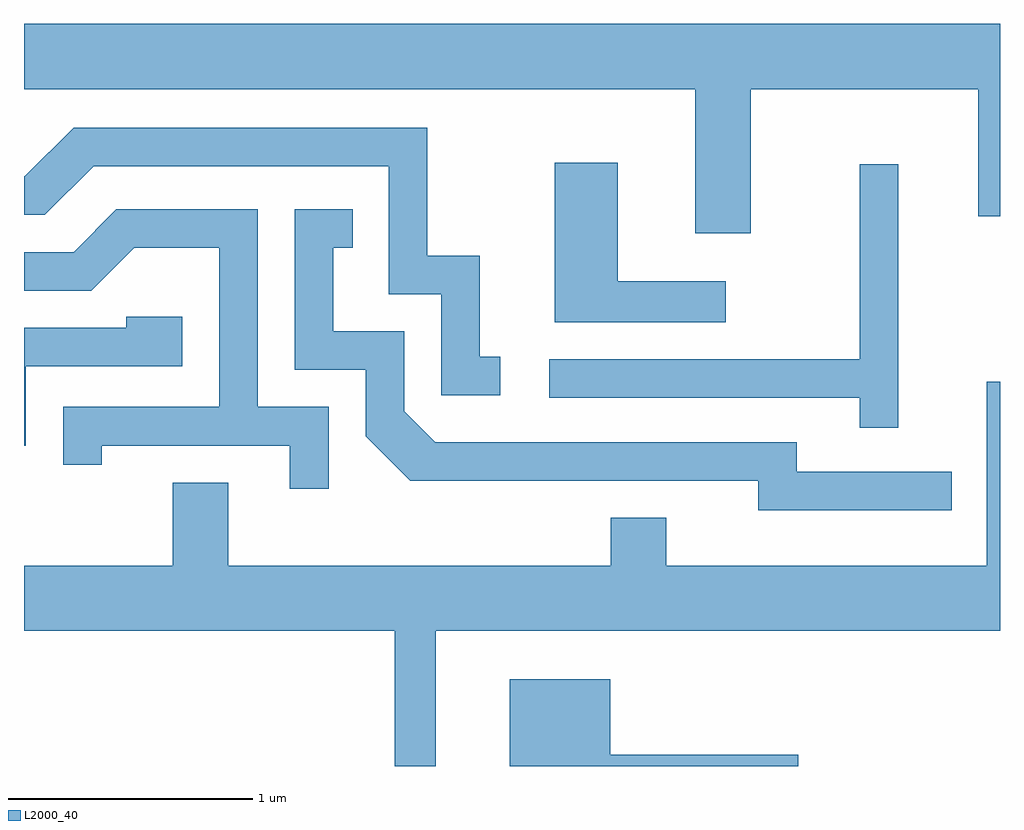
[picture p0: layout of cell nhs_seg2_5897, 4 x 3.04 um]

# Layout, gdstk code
import gdstk
lib = gdstk.Library(unit=1e-6, precision=1e-09)
def P(c, l, *ps):  # polygons
    for p in ps: c.add(gdstk.Polygon(p, *l))
L2000_40 = (2000, 40)

nhs_seg2_5897 = lib.new_cell('nhs_seg2_5897')
P(nhs_seg2_5897, L2000_40, [(362.589,1010.576),(363.521,1010.576),(363.521,1010.056),(363.611,1010.056),(363.611,1010.844),(359.611,1010.844),(359.611,1010.576),(362.361,1010.576),(362.361,1009.986),(362.589,1009.986)],
  [(361.563,1009.479),(361.479,1009.479),(361.479,1009.894),(361.264,1009.894),(361.264,1010.419),(359.814,1010.419),(359.614,1010.219),(359.611,1010.219),(359.611,1010.061),(359.697,1010.061),(359.897,1010.261),(361.106,1010.261),(361.106,1009.736),(361.321,1009.736),(361.321,1009.321),(361.563,1009.321)],
  [(362.488,1009.789),(362.044,1009.789),(362.044,1010.274),(361.786,1010.274),(361.786,1009.621),(362.488,1009.621)],
  [(363.194,1010.268),(363.036,1010.268),(363.036,1009.469),(361.763,1009.469),(361.763,1009.311),(363.036,1009.311),(363.036,1009.188),(363.194,1009.188)],
  [(360.859,1009.274),(360.569,1009.274),(360.569,1010.084),(359.989,1010.084),(359.814,1009.909),(359.611,1009.909),(359.611,1009.751),(359.887,1009.751),(360.062,1009.926),(360.411,1009.926),(360.411,1009.274),(359.771,1009.274),(359.771,1009.038),(359.929,1009.038),(359.929,1009.116),(360.701,1009.116),(360.701,1008.938),(360.859,1008.938)],
  [(363.413,1009.009),(362.779,1009.009),(362.779,1009.129),(361.297,1009.129),(361.169,1009.257),(361.169,1009.584),(360.879,1009.584),(360.879,1009.926),(360.958,1009.926),(360.958,1010.084),(360.721,1010.084),(360.721,1009.426),(361.011,1009.426),(361.011,1009.154),(361.194,1008.971),(362.621,1008.971),(362.621,1008.851),(363.413,1008.851)],
  [(359.619,1009.441),(360.259,1009.441),(360.259,1009.644),(360.031,1009.644),(360.031,1009.599),(359.611,1009.599),(359.611,1009.116),(359.619,1009.116)],
  [(361.299,1008.356),(363.611,1008.356),(363.611,1009.378),(363.556,1009.378),(363.556,1008.624),(362.244,1008.624),(362.244,1008.819),(362.016,1008.819),(362.016,1008.624),(360.449,1008.624),(360.449,1008.964),(360.221,1008.964),(360.221,1008.624),(359.611,1008.624),(359.611,1008.356),(361.131,1008.356),(361.131,1007.802),(361.299,1007.802)],
  [(362.784,1007.849),(362.014,1007.849),(362.014,1008.159),(361.601,1008.159),(361.601,1007.802),(362.784,1007.802)])

lib.write_gds('nhs_seg2_5897.gds')
